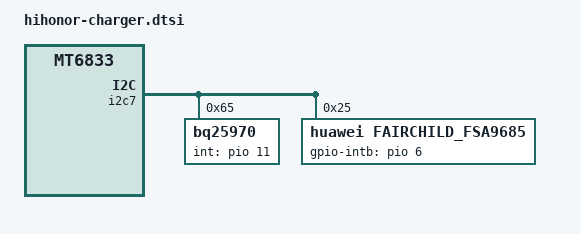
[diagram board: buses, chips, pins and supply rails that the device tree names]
#include "../hihonor_charger/mt6833_chl_22p5w_honor_charger.dtsi"

	&pio {
		bq25970_irq_pins_default: bq25970_irq_pins_default {
			pins_cmd_dat {
				pinmux = <PINMUX_GPIO11__FUNC_GPIO11>;
				slew-rate = <0>;
				bias-pull-up;
			};
		};
		fsa9685_irq_pins_default: fsa9685_irq_pins_default {
			pins_cmd_dat {
				pinmux = <PINMUX_GPIO6__FUNC_GPIO6>;
				slew-rate = <0>;
				bias-pull-up;
			};
		};
	};

	&i2c7 {
		bq25970@65 {
			compatible = "bq25970";
		pinctrl-names = "default";
		pinctrl-0 = <&bq25970_irq_pins_default>;
		gpio_int = <&pio 11 0x0>;
		switching_frequency = <675>;
		sense_r_config = <20>;
		sense_r_actual = <20>;
		reg = <0x65>;
		status = "ok";
	};
	fairchild_fsa9685@25 {
		compatible = "huawei,fairchild_fsa9685";
		reg = <0x25>;
		pinctrl-names = "default";
		pinctrl-0 = <&fsa9685_irq_pins_default>;
		fairchild_fsa9685,gpio-intb = <&pio 6 0x0>;
		usbid-enable = <0>;
		fcp_support = <1>;
		scp_support = <1>;
		mhl_detect_disable = <1>;
		power_by_5v = <1>;
		close_bc12 = <1>;
		ignore_force_ac = <1>;
		/* for rt8979 */
		interrupt-names = "vbus_change", "device_change", "detach",
				  "attach";
		/* auto_switch; */
		scp;
		dcd;
		dcd_timeout = <600>;  /* ms */
		intb_watchdog = <1000>;  /* ms */
		ovp_sel = <14500000>;  /* uV */
		status = "ok";
	};
};
